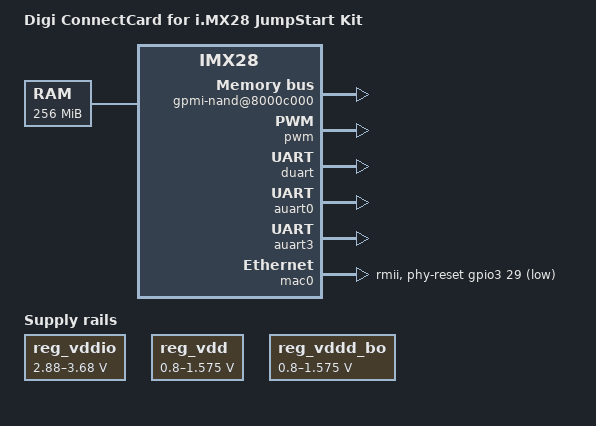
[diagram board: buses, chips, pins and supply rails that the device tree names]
/*
 * Copyright 2020 Amotus Solutions, Inc.
 *
 * The code contained herein is licensed under the GNU General Public
 * License. You may obtain a copy of the GNU General Public License
 * Version 2 or later at the following locations:
 *
 * http://www.opensource.org/licenses/gpl-license.html
 * http://www.gnu.org/copyleft/gpl.html
 */

/dts-v1/;
#include "imx28.dtsi"

/ {
	model = "Digi ConnectCard for i.MX28 JumpStart Kit";
	compatible = "digi,ccardimx28js", "digi,ccardimx28", "fsl,imx28";
	
	memory@40000000 {
		device_type = "memory";
		reg = <0x40000000 0x10000000>;
	};

	apb@80000000 {
		apbh@80000000 {
			gpmi-nand@8000c000 {
				pinctrl-names = "default";
				pinctrl-0 = <&gpmi_pins_a &gpmi_status_cfg>;
				status = "okay";
			};
			pinctrl@80018000 {
				pinctrl-names = "default";
				
				/* NAND powered at 1.8V */
				gpmi_pins_a: gpmi-nand@0 {
					fsl,voltage = <0>;
				};
				
				/* I2C0 has external pull-ups on JSK board */
				i2c0_pins_a: i2c0@0 {
					fsl,pull-up = <0>;
				};
			};
		};
		
		apbx@80040000 {
			power@80044000 {
				#address-cells = <1>;
				#size-cells = <1>;
				ranges;
				compatible = "simple-bus";
				
				reg_vddio: reg_vddio@80044040 {
					compatible = "regulator-fixed";
					reg = <0x80044060 0x10>;
					regulator-name = "vddio";
					regulator-min-microvolt = <2880000>;
					regulator-max-microvolt = <3680000>;
					regulator-type = "voltage";
					regulator-always-on;
				};
				
				reg_vdd: reg_vdd@80044040 {
					compatible = "regulator-fixed";
					reg = <0x80044040 0x10>;
					regulator-name = "vddd";
					regulator-min-microvolt = <800000>;
					regulator-max-microvolt = <1575000>;
					regulator-type = "voltage";
					regulator-always-on;
				};
				
				reg_vddd_bo: reg_vddd_bo@80044040 {
					compatible = "regulator-fixed";
					reg = <0x80044040 0x10>;
					regulator-name = "vddd_bo";
					regulator-min-microvolt = <800000>;
					regulator-max-microvolt = <1575000>;
					regulator-type = "voltage";
					regulator-always-on;
					mxs-regulator-brown-out;
				};
			};

			pwm: pwm@80064000 {
				pinctrl-names = "default";
				pinctrl-0 = <&pwm2_pins_a>;
				status = "okay";
			};
			
			duart: serial@80074000 {
				pinctrl-names = "default";
				pinctrl-0 = <&duart_pins_c>;
				status = "okay";
			};
			
			auart0: serial@8006a000 {
				pinctrl-names = "default";
				pinctrl-0 = <&auart0_pins_a>;
				uart-has-rtscts;
				status = "okay";
			};

			auart3: serial@80070000 {
				pinctrl-names = "default";
				pinctrl-0 = <&auart3_pins_a>;
				status = "okay";
			};	
		};
	};
	
	ahb@80080000 {
		mac0: ethernet@800f0000 {
			phy-mode = "rmii";
			pinctrl-names = "default";
			pinctrl-0 = <&mac0_pins_a>;
			phy-reset-gpios = <&gpio3 29 GPIO_ACTIVE_LOW>;
			phy-reset-duration = <100>;
			status = "okay";
		};
	};
};
